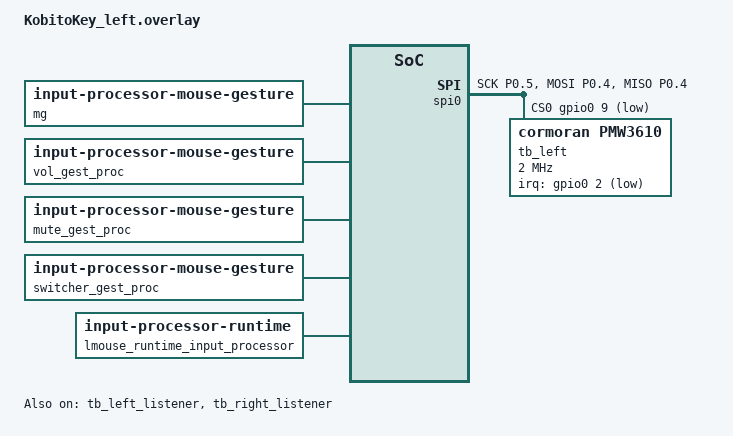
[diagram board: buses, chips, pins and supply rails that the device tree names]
#include "kobitokey.dtsi"
#include <zephyr/dt-bindings/input/input-event-codes.h>
#include <dt-bindings/zmk/mouse-gesture.h>

&xiao_serial { status = "disabled"; };

&pinctrl {
    spi0_default: spi0_default {
        group1 {
            psels = <NRF_PSEL(SPIM_SCK,  0, 5)>,
                    <NRF_PSEL(SPIM_MOSI, 0, 4)>,
                    <NRF_PSEL(SPIM_MISO, 0, 4)>;
        };
    };
    spi0_sleep: spi0_sleep {
        group1 {
            psels = <NRF_PSEL(SPIM_SCK,  0, 5)>,
                    <NRF_PSEL(SPIM_MOSI, 0, 4)>,
                    <NRF_PSEL(SPIM_MISO, 0, 4)>;
            low-power-enable;
        };
    };
};

&spi0 {
    status = "okay";
    compatible = "nordic,nrf-spim";
    pinctrl-0 = <&spi0_default>;
    pinctrl-1 = <&spi0_sleep>;
    pinctrl-names = "default", "sleep";
    cs-gpios = <&gpio0 9 GPIO_ACTIVE_LOW>;

    /* cormoran 版 PMW3610 ドライバ (DYA Studio のセンサータブ対応)。
     * Zephyr 4.1 が純正 "pixart,pmw3610" を取り込んだため、公式ファームの
     * badjeff 版 compatible はそのまま使えない。
     * 軸の反転は CONFIG_PMW3610_INVERT_X / _Y (KobitoKey_left.conf)。 */
    tb_left: trackball@0 {
        status = "okay";
        compatible = "cormoran,pmw3610";
        reg = <0>;
        spi-max-frequency = <2000000>;
        irq-gpios = <&gpio0 2 (GPIO_ACTIVE_LOW | GPIO_PULL_UP)>;
        cpi = <600>;
        evt-type = <INPUT_EV_REL>;
        x-input-code = <INPUT_REL_X>;
        y-input-code = <INPUT_REL_Y>;
        /* DYA Studio 上でこのセンサーを識別するための短い ID */
        settings-id = "tbl";
    };
};

/* RPC からランタイム編集できるマウスジェスチャー。
 * - ノード名を mouse_gesture にしない (モジュール側の behavior と衝突する)
 * - RPC が書き換えるのは DT インスタンス0番だけなので、zmk-dya-common の
 *   gestures.dtsi (keymap から include) より先のここで定義する
 * - always-active は付けない (付けると全レイヤーでカーソルが止まる)
 * 経緯は moNa2 の mona2_r.overlay を参照。 */
/ {
    mg: rpc_mouse_gesture {
        compatible = "zmk,input-processor-mouse-gesture";
        #input-processor-cells = <0>;
        stroke-size = <20>;
        movement-threshold = <5>;
        idle-timeout-ms = <100>;
        gesture-cooldown-ms = <200>;

        /* trie 構築のためのプレースホルダ。実際の割り当ては RPC で上書きされる。 */
        placeholder {
            pattern = <GESTURE_UP GESTURE_RIGHT>;
            bindings = <&kp ESC>;
        };
    };

    /* 慣性スクロール。値は moNa2 と同じ (意味は mona2_r.overlay のコメント参照)。
     * layer は指定しない: 左ボールは常時スクロールで、連動させるレイヤーが無い。 */
    scroll_inertia_free: scroll_inertia_free {
        compatible = "zmk,input-processor-scroll-inertia";
        #input-processor-cells = <0>;
        axis      = <0>;
        scale     = <1000>;
        scale-div = <1000>;
        tick = <17>;
        release = <51>;
        start = <30>;
        move = <45>;
        min-events = <6>;
        gain = <300>;
        blend = <700>;
        friction = <25>;
        limit = <900>;
        stop = <1>;
        span = <12000>;
        fast = <250>;
        decay-fast = <996>;
        decay-slow = <985>;
        slow = <60>;
        decay-tail = <982>;
    };
};

/* 左ボールの音量ジェスチャー (レイヤー 6 = Bluetooth のときだけ)。
 *   上 = 音量アップ / 下 = 音量ダウン / 左 = ミュート / 右 = マイクミュート (Win+Alt+K)
 * 音量 (上下) とミュート (左右) で感度を分けるため、プロセッサを 2 つにしている。
 *   - 音量: 軽く転がすだけで反応し、転がし続けると stroke-size ごとに繰り返す (eager)
 *   - ミュート: 大きく転がさないと反応しない。連続で切り替わらないよう cooldown も長い
 * どちらも全方向の動きを受け取るが、自分の担当外の方向は何もせず捨てる。
 * gesture-cooldown-ms が連打の間隔の下限。
 * RPC が書き換えるのは DT インスタンス 0 番 (&mg) だけなので、&mg より後に定義する。 */
/ {
    vol_gest_proc: vol_gest_proc {
        compatible = "zmk,input-processor-mouse-gesture";
        #input-processor-cells = <0>;
        enable-eager-mode;
        always-active;
        stroke-size = <20>;
        movement-threshold = <4>;
        idle-timeout-ms = <100>;
        gesture-cooldown-ms = <150>;

        up    { pattern = <GESTURE_UP>;    bindings = <&kp C_VOL_UP>; };
        down  { pattern = <GESTURE_DOWN>;  bindings = <&kp C_VOL_DN>; };
    };

    mute_gest_proc: mute_gest_proc {
        compatible = "zmk,input-processor-mouse-gesture";
        #input-processor-cells = <0>;
        enable-eager-mode;
        always-active;
        stroke-size = <60>;          /* 音量の 3 倍。ちょっと触っただけでは切り替わらない */
        movement-threshold = <6>;
        idle-timeout-ms = <100>;
        gesture-cooldown-ms = <700>; /* 一度切り替えたら 0.7 秒は次を受け付けない */

        left  { pattern = <GESTURE_LEFT>;  bindings = <&kp C_MUTE>; };
        right { pattern = <GESTURE_RIGHT>; bindings = <&kp LG(LA(K))>; };
    };

    /* ウィンドウ切り替え中 (レイヤー 14、Ctrl+Alt+Tab コンボを押している間) の選択移動。
     * 上下左右 = 矢印キー。転がし続けると stroke-size ごとに 1 つずつ進む。 */
    switcher_gest_proc: switcher_gest_proc {
        compatible = "zmk,input-processor-mouse-gesture";
        #input-processor-cells = <0>;
        enable-eager-mode;
        always-active;
        stroke-size = <25>;
        movement-threshold = <4>;
        idle-timeout-ms = <100>;
        gesture-cooldown-ms = <120>;

        up    { pattern = <GESTURE_UP>;    bindings = <&kp UP>; };
        down  { pattern = <GESTURE_DOWN>;  bindings = <&kp DOWN>; };
        left  { pattern = <GESTURE_LEFT>;  bindings = <&kp LEFT>; };
        right { pattern = <GESTURE_RIGHT>; bindings = <&kp RIGHT>; };
    };
};

/* 左ボールのカーソル (レイヤー 4 = Mouse のときだけ)。DYA Studio には "Lmouse" として出る。
 * 回転は Lscroll と同じ -24° (左ボールの取り付け角度)。ドライバの反転で REL_X/Y は
 * カーソルと同じ向きになっているので、軸の反転は要らない。 */
/ {
    lmouse_runtime_input_processor: lmouse_runtime_input_processor {
        compatible = "zmk,input-processor-runtime";
        processor-label = "Lmouse";
        type = <INPUT_EV_REL>;
        x-codes = <INPUT_REL_X>;
        y-codes = <INPUT_REL_Y>;
        scale-multiplier = <1>;
        scale-divisor = <1>;
        rotation-degrees = <(-24)>;
        track-remainders;

        temp-layer-transparent-behavior = <&trans>;
        temp-layer-kp-behavior = <&kp>;
        temp-layer-keep-keycodes = <LEFT_CONTROL LEFT_SHIFT LEFT_ALT LEFT_GUI RIGHT_CONTROL RIGHT_SHIFT RIGHT_ALT RIGHT_GUI>;

        #input-processor-cells = <0>;
    };
};

/* 左ボール: 常時スクロール (+ スナップ + 慣性) */
&tb_left_listener {
    status = "okay";
    device = <&tb_left>;
    input-processors =
        <&scroll_runtime_input_processor>,
        <&zip_scroll_snap>,
        <&scroll_inertia_free>;

    /* レイヤー 6 の間はスクロールの代わりに音量ジェスチャー。
     * ドライバの反転で REL_X/Y はカーソルと同じ向き (右 = +X、手前 = +Y) なので
     * 軸変換は不要。最後の scaler で X/Y を 0 にして、カーソルが動かないようにする。 */
    route_vol_gest {
        layers = <6>;
        input-processors =
            <&vol_gest_proc>,
            <&mute_gest_proc>,
            <&zip_xy_scaler 0 1>;
    };

    /* レイヤー 14 (Ctrl+Alt+Tab コンボを押している間) は切り替え画面の選択移動。 */
    route_switcher {
        layers = <14>;
        input-processors =
            <&switcher_gest_proc>,
            <&zip_xy_scaler 0 1>;
    };

    /* レイヤー 4 (Mouse) の間は左ボールもカーソル (Lmouse)。スクロールはしない。
     * 子ノードは書いた順に判定されるので、6 と 14 (上) が同時に有効ならそちらが勝つ。 */
    route_lmouse {
        layers = <4>;
        input-processors = <&lmouse_runtime_input_processor>;
    };
};

/* 右ボールのスクロール (レイヤー 5 = Scroll のときだけ)。
 * moNa2 / torabo-tsuki LP と同じく、レイヤー 5 の間だけカーソルをスクロールに変える。
 * 左ボール用の scroll_runtime_input_processor は常時スクロールなので共有せず、
 * 右ボール専用の実体を作る (DYA Studio には "Rscroll" として出る)。
 * 回転 (24°) は手前の mouse_runtime_input_processor が済ませているので 0。 */
/ {
    rscroll_runtime_input_processor: rscroll_runtime_input_processor {
        compatible = "zmk,input-processor-runtime";
        processor-label = "Rscroll";
        type = <INPUT_EV_REL>;
        x-codes = <INPUT_REL_X>;
        y-codes = <INPUT_REL_Y>;
        xy-to-scroll-enabled;
        active-layers = <(1 << 5)>;
        /* 左ボールと同じ 0.40x から始める。右は CPI 600 で左と同じ。 */
        scale-multiplier = <2>;
        scale-divisor = <5>;
        rotation-degrees = <0>;
        track-remainders;
        /* 正の WHEEL = 上スクロール、正の REL_Y = カーソル下なので縦だけ反転 (左と同じ)。 */
        y-invert;

        temp-layer-transparent-behavior = <&trans>;
        temp-layer-kp-behavior = <&kp>;
        temp-layer-keep-keycodes = <LEFT_CONTROL LEFT_SHIFT LEFT_ALT LEFT_GUI RIGHT_CONTROL RIGHT_SHIFT RIGHT_ALT RIGHT_GUI>;

        #input-processor-cells = <0>;
    };

    /* スナップ: zip_scroll_snap と同じ値。状態を左ボールと分けるため別の実体にする。
     * WHEEL / HWHEEL にしか作用しないので、レイヤー 5 以外のカーソルには影響しない。 */
    zip_scroll_snap_r: zip_scroll_snap_r {
        compatible = "zmk,input-processor-scroll-snap";
        #input-processor-cells = <0>;
        x-threshold = <5 8>;
        y-threshold = <1 1>;
        xy-threshold = <0 0>;
        require-n-samples = <10>;
        immediate-snap-threshold = <1500>;
        lock-duration-ms = <200>;
        lock-for-next-n-events = <10>;
        idle-reset-timeout-ms = <200>;
        track-remainders;
    };

    /* 慣性: 値は左 (scroll_inertia_free) と同じ。layer = 5 でレイヤー連動にする
     * (moNa2 と同じ形。レイヤーを抜けると惰性も止まる)。 */
    scroll_inertia_r: scroll_inertia_r {
        compatible = "zmk,input-processor-scroll-inertia";
        #input-processor-cells = <0>;
        axis      = <0>;
        layer     = <5>;
        scale     = <1000>;
        scale-div = <1000>;
        tick = <17>;
        release = <51>;
        start = <30>;
        move = <45>;
        min-events = <6>;
        gain = <300>;
        blend = <700>;
        friction = <25>;
        limit = <900>;
        stop = <1>;
        span = <12000>;
        fast = <250>;
        decay-fast = <996>;
        decay-slow = <985>;
        slow = <60>;
        decay-tail = <982>;
    };
};

/* 右ボール (split 経由): カーソル。
 * ジェスチャーレイヤー (7〜12) のルートは keymap が include する
 * zmk-dya-common の gestures.dtsi がこのリスナーに足す。
 * 公式のオートマウスレイヤー (zip_temp_layer) は外した: torabo-tsuki LP の
 * 配列では MOUSE レイヤーにキーで入る。 */
&tb_right_listener {
    status = "okay";
    input-processors =
        <&mg>,
        <&mouse_runtime_input_processor>,
        <&rscroll_runtime_input_processor>,
        <&zip_scroll_snap_r>,
        <&scroll_inertia_r>;
};
